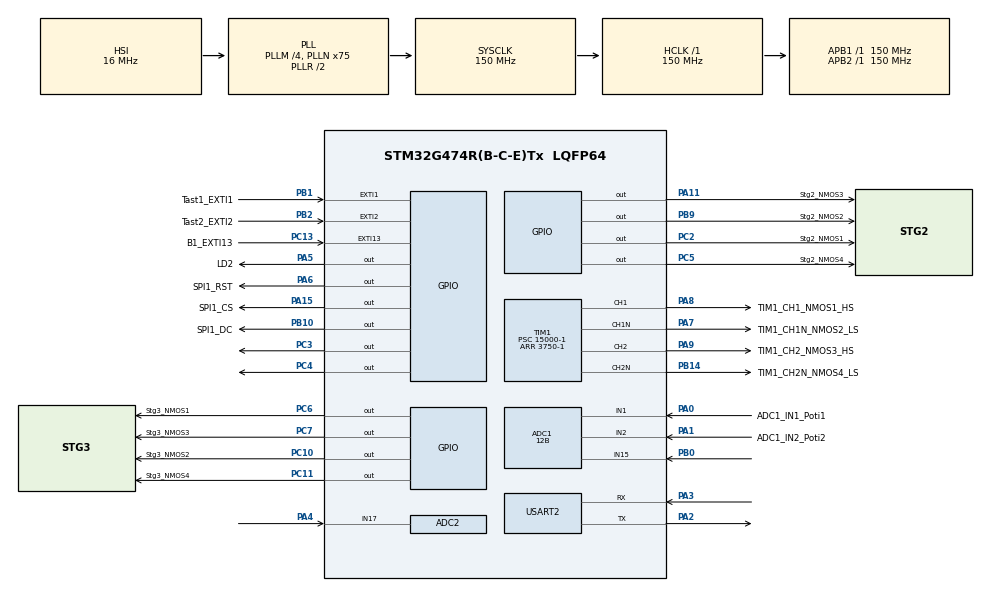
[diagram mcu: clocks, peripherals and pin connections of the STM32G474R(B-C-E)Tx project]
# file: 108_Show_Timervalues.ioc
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ADC1.Channel-2\#ChannelRegularConversion=ADC_CHANNEL_1
ADC1.Channel-3\#ChannelRegularConversion=ADC_CHANNEL_2
ADC1.Channel-4\#ChannelRegularConversion=ADC_CHANNEL_15
ADC1.ContinuousConvMode=ENABLE
ADC1.DMAContinuousRequests=ENABLE
ADC1.EOCSelection=ADC_EOC_SEQ_CONV
ADC1.NbrOfConversion=3
ADC1.NbrOfConversionFlag=1
ADC1.OffsetNumber-2\#ChannelRegularConversion=ADC_OFFSET_NONE
ADC1.OffsetNumber-3\#ChannelRegularConversion=ADC_OFFSET_NONE
ADC1.OffsetNumber-4\#ChannelRegularConversion=ADC_OFFSET_NONE
ADC1.Overrun=ADC_OVR_DATA_PRESERVED
ADC1.Rank-2\#ChannelRegularConversion=1
ADC1.Rank-3\#ChannelRegularConversion=2
ADC1.Rank-4\#ChannelRegularConversion=3
ADC1.Resolution=ADC_RESOLUTION_12B
ADC1.SamplingTime-2\#ChannelRegularConversion=ADC_SAMPLETIME_640CYCLES_5
ADC1.SamplingTime-3\#ChannelRegularConversion=ADC_SAMPLETIME_640CYCLES_5
ADC1.SamplingTime-4\#ChannelRegularConversion=ADC_SAMPLETIME_640CYCLES_5
ADC1.master=1
ADC2.Channel-0\#ChannelRegularConversion=ADC_CHANNEL_17
ADC2.ContinuousConvMode=ENABLE
ADC2.DMAContinuousRequests=ENABLE
ADC2.EOCSelection=ADC_EOC_SEQ_CONV
ADC2.NbrOfConversion=1
ADC2.NbrOfConversionFlag=1
ADC2.OffsetNumber-0\#ChannelRegularConversion=ADC_OFFSET_NONE
ADC2.Overrun=ADC_OVR_DATA_PRESERVED
ADC2.Rank-0\#ChannelRegularConversion=1
ADC2.Resolution=ADC_RESOLUTION_12B
ADC2.SamplingTime-0\#ChannelRegularConversion=ADC_SAMPLETIME_640CYCLES_5
Dma.ADC1.0.Direction=DMA_PERIPH_TO_MEMORY
Dma.ADC1.0.EventEnable=DISABLE
Dma.ADC1.0.Instance=DMA1_Channel3
Dma.ADC1.0.MemDataAlignment=DMA_MDATAALIGN_WORD
Dma.ADC1.0.MemInc=DMA_MINC_ENABLE
Dma.ADC1.0.Mode=DMA_CIRCULAR
Dma.ADC1.0.PeriphDataAlignment=DMA_PDATAALIGN_WORD
Dma.ADC1.0.PeriphInc=DMA_PINC_DISABLE
Dma.ADC1.0.Polarity=HAL_DMAMUX_REQ_GEN_RISING
Dma.ADC1.0.Priority=DMA_PRIORITY_LOW
Dma.ADC1.0.RequestNumber=1
Dma.ADC1.0.SignalID=NONE
Dma.ADC1.0.SyncEnable=DISABLE
Dma.ADC1.0.SyncPolarity=HAL_DMAMUX_SYNC_NO_EVENT
Dma.ADC1.0.SyncRequestNumber=1
Dma.ADC1.0.SyncSignalID=NONE
Dma.ADC2.1.Direction=DMA_PERIPH_TO_MEMORY
Dma.ADC2.1.EventEnable=DISABLE
Dma.ADC2.1.Instance=DMA2_Channel1
Dma.ADC2.1.MemDataAlignment=DMA_MDATAALIGN_WORD
Dma.ADC2.1.MemInc=DMA_MINC_ENABLE
Dma.ADC2.1.Mode=DMA_CIRCULAR
Dma.ADC2.1.PeriphDataAlignment=DMA_PDATAALIGN_WORD
Dma.ADC2.1.PeriphInc=DMA_PINC_DISABLE
Dma.ADC2.1.Polarity=HAL_DMAMUX_REQ_GEN_RISING
Dma.ADC2.1.Priority=DMA_PRIORITY_LOW
Dma.ADC2.1.RequestNumber=1
Dma.ADC2.1.SignalID=NONE
Dma.ADC2.1.SyncEnable=DISABLE
Dma.ADC2.1.SyncPolarity=HAL_DMAMUX_SYNC_NO_EVENT
Dma.ADC2.1.SyncRequestNumber=1
Dma.ADC2.1.SyncSignalID=NONE
Dma.Request0=ADC1
Dma.Request1=ADC2
Dma.Request2=TIM1_CH1
Dma.Request3=TIM1_CH2
Dma.TIM1_CH1.2.Direction=DMA_MEMORY_TO_PERIPH
Dma.TIM1_CH1.2.EventEnable=DISABLE
Dma.TIM1_CH1.2.Instance=DMA1_Channel1
Dma.TIM1_CH1.2.MemDataAlignment=DMA_MDATAALIGN_WORD
Dma.TIM1_CH1.2.MemInc=DMA_MINC_ENABLE
Dma.TIM1_CH1.2.Mode=DMA_CIRCULAR
Dma.TIM1_CH1.2.PeriphDataAlignment=DMA_PDATAALIGN_WORD
Dma.TIM1_CH1.2.PeriphInc=DMA_PINC_DISABLE
Dma.TIM1_CH1.2.Polarity=HAL_DMAMUX_REQ_GEN_RISING
Dma.TIM1_CH1.2.Priority=DMA_PRIORITY_LOW
Dma.TIM1_CH1.2.RequestNumber=1
Dma.TIM1_CH1.2.SignalID=NONE
Dma.TIM1_CH1.2.SyncEnable=DISABLE
Dma.TIM1_CH1.2.SyncPolarity=HAL_DMAMUX_SYNC_NO_EVENT
Dma.TIM1_CH1.2.SyncRequestNumber=1
Dma.TIM1_CH1.2.SyncSignalID=NONE
Dma.TIM1_CH2.3.Direction=DMA_MEMORY_TO_PERIPH
Dma.TIM1_CH2.3.EventEnable=DISABLE
Dma.TIM1_CH2.3.Instance=DMA1_Channel2
Dma.TIM1_CH2.3.MemDataAlignment=DMA_MDATAALIGN_WORD
Dma.TIM1_CH2.3.MemInc=DMA_MINC_ENABLE
Dma.TIM1_CH2.3.Mode=DMA_CIRCULAR
Dma.TIM1_CH2.3.PeriphDataAlignment=DMA_PDATAALIGN_WORD
Dma.TIM1_CH2.3.PeriphInc=DMA_PINC_DISABLE
Dma.TIM1_CH2.3.Polarity=HAL_DMAMUX_REQ_GEN_RISING
Dma.TIM1_CH2.3.Priority=DMA_PRIORITY_LOW
Dma.TIM1_CH2.3.RequestNumber=1
Dma.TIM1_CH2.3.SignalID=NONE
Dma.TIM1_CH2.3.SyncEnable=DISABLE
Dma.TIM1_CH2.3.SyncPolarity=HAL_DMAMUX_SYNC_NO_EVENT
Dma.TIM1_CH2.3.SyncRequestNumber=1
Dma.TIM1_CH2.3.SyncSignalID=NONE
Mcu.Family=STM32G4
Mcu.Name=STM32G474R(B-C-E)Tx
Mcu.Package=LQFP64
NVIC.DMA1_Channel1_IRQn=true\:0\:0\:false\:false\:true\:false\:true\:true
NVIC.DMA1_Channel2_IRQn=true\:0\:0\:false\:false\:true\:false\:true\:true
NVIC.DMA1_Channel3_IRQn=true\:0\:0\:false\:false\:true\:false\:true\:true
NVIC.DMA2_Channel1_IRQn=true\:0\:0\:false\:false\:true\:false\:true\:true
NVIC.EXTI15_10_IRQn=true\:0\:0\:false\:false\:true\:true\:true\:true
NVIC.EXTI1_IRQn=true\:0\:0\:false\:false\:true\:true\:true\:true
NVIC.EXTI2_IRQn=true\:0\:0\:false\:false\:true\:true\:true\:true
NVIC.PriorityGroup=NVIC_PRIORITYGROUP_4
NVIC.TIM1_TRG_COM_TIM17_IRQn=true\:0\:0\:false\:false\:true\:true\:true\:true
NVIC.TIM1_UP_TIM16_IRQn=true\:0\:0\:false\:false\:true\:true\:true\:true
PA0.GPIO_Label=ADC1_IN1_Poti1
PA0.Mode=IN1-Single-Ended
PA0.Signal=ADC1_IN1
PA1.GPIO_Label=ADC1_IN2_Poti2
PA1.Mode=IN2-Single-Ended
PA1.Signal=ADC1_IN2
PA11.GPIO_Label=Stg2_NMOS3
PA11.Signal=GPIO_Output
PA13.Mode=Trace_Asynchronous_SW
PA13.Signal=SYS_JTMS-SWDIO
PA14.Mode=Trace_Asynchronous_SW
PA14.Signal=SYS_JTCK-SWCLK
PA15.GPIO_Label=SPI1_CS
PA15.Signal=GPIO_Output
PA2.Mode=Asynchronous
PA2.Signal=USART2_TX
PA3.Mode=Asynchronous
PA3.Signal=USART2_RX
PA4.Mode=IN17-Single-Ended
PA4.Signal=ADC2_IN17
PA5.GPIO_Label=LD2
PA5.Signal=GPIO_Output
PA6.GPIO_Label=SPI1_RST
PA6.Signal=GPIO_Output
PA7.GPIO_Label=TIM1_CH1N_NMOS2_LS
PA7.GPIO_ModeDefaultPP=GPIO_MODE_AF_PP
PA7.GPIO_PuPd=GPIO_PULLDOWN
PA7.GPIO_Speed=GPIO_SPEED_FREQ_LOW
PA7.Mode=PWM Generation1 CH1 CH1N
PA7.Signal=TIM1_CH1N
PA8.GPIO_Label=TIM1_CH1_NMOS1_HS
PA8.GPIO_ModeDefaultPP=GPIO_MODE_AF_PP
PA8.GPIO_PuPd=GPIO_PULLDOWN
PA8.GPIO_Speed=GPIO_SPEED_FREQ_LOW
PA8.Signal=S_TIM1_CH1
PA9.GPIO_Label=TIM1_CH2_NMOS3_HS
PA9.GPIO_ModeDefaultPP=GPIO_MODE_AF_PP
PA9.GPIO_PuPd=GPIO_PULLDOWN
PA9.Signal=S_TIM1_CH2
PB0.Mode=IN15-Single-Ended
PB0.Signal=ADC1_IN15
PB1.GPIO_Label=Tast1_EXTI1
PB1.GPIO_ModeDefaultEXTI=GPIO_MODE_IT_RISING
PB1.GPIO_PuPd=GPIO_PULLDOWN
PB1.Signal=GPXTI1
PB10.GPIO_Label=SPI1_DC
PB10.Signal=GPIO_Output
PB14.GPIO_Label=TIM1_CH2N_NMOS4_LS
PB14.GPIO_ModeDefaultPP=GPIO_MODE_AF_PP
PB14.GPIO_PuPd=GPIO_PULLDOWN
PB14.Mode=PWM Generation2 CH2 CH2N
PB14.Signal=TIM1_CH2N
PB2.GPIO_Label=Tast2_EXTI2
PB2.GPIO_PuPd=GPIO_PULLDOWN
PB2.Signal=GPXTI2
PB3.Mode=Trace_Asynchronous_SW
PB3.Signal=SYS_JTDO-SWO
PB9.GPIO_Label=Stg2_NMOS2
PB9.Signal=GPIO_Output
PC10.GPIO_Label=Stg3_NMOS2
PC10.Signal=GPIO_Output
PC11.GPIO_Label=Stg3_NMOS4
PC11.Signal=GPIO_Output
PC13.GPIO_Label=B1_EXTI13
PC13.GPIO_ModeDefaultEXTI=GPIO_MODE_IT_RISING
PC13.GPIO_PuPd=GPIO_NOPULL
PC13.Signal=GPXTI13
PC2.GPIO_Label=Stg2_NMOS1
PC2.Signal=GPIO_Output
PC3.Signal=GPIO_Output
PC4.Signal=GPIO_Output
PC5.GPIO_Label=Stg2_NMOS4
PC5.Signal=GPIO_Output
PC6.GPIO_Label=Stg3_NMOS1
PC6.Signal=GPIO_Output
PC7.GPIO_Label=Stg3_NMOS3
PC7.Signal=GPIO_Output
PF0-OSC_IN.Mode=HSE-External-Oscillator
PF0-OSC_IN.Signal=RCC_OSC_IN
PF1-OSC_OUT.Mode=HSE-External-Oscillator
PF1-OSC_OUT.Signal=RCC_OSC_OUT
ProjectManager.HeapSize=0x200
ProjectManager.StackSize=0x400
ProjectManager.TargetToolchain=STM32CubeIDE
RCC.ADC12Freq_Value=150000000
RCC.ADC345Freq_Value=150000000
RCC.AHBFreq_Value=150000000
RCC.APB1Freq_Value=150000000
RCC.APB1TimFreq_Value=150000000
RCC.APB2Freq_Value=150000000
RCC.APB2TimFreq_Value=150000000
RCC.CortexFreq_Value=150000000
RCC.EXTERNAL_CLOCK_VALUE=12288000
RCC.HCLKFreq_Value=150000000
RCC.HSE_VALUE=48000000
RCC.HSI48_VALUE=48000000
RCC.HSI_VALUE=16000000
RCC.LSE_VALUE=32768
RCC.PLLM=RCC_PLLM_DIV4
RCC.PLLN=75
RCC.SYSCLKFreq_VALUE=150000000
RCC.SYSCLKSource=RCC_SYSCLKSOURCE_PLLCLK
RCC.USBFreq_Value=150000000
RCC.VCOOutputFreq_Value=300000000
SH.S_TIM1_CH1.0=TIM1_CH1,PWM Generation1 CH1 CH1N
SH.S_TIM1_CH2.0=TIM1_CH2,PWM Generation2 CH2 CH2N
TIM1.AsymmetricalDeadTime=DISABLE
TIM1.AutoReloadPreload=TIM_AUTORELOAD_PRELOAD_ENABLE
TIM1.AutomaticOutput=TIM_AUTOMATICOUTPUT_ENABLE
TIM1.Channel-PWM\ Generation1\ CH1\ CH1N=TIM_CHANNEL_1
TIM1.Channel-PWM\ Generation2\ CH2\ CH2N=TIM_CHANNEL_2
TIM1.CounterMode=TIM_COUNTERMODE_CENTERALIGNED2
TIM1.DeadTime=192
TIM1.OCFastMode_PWM-PWM\ Generation1\ CH1\ CH1N=TIM_OCFAST_ENABLE
TIM1.OCFastMode_PWM-PWM\ Generation2\ CH2\ CH2N=TIM_OCFAST_ENABLE
TIM1.OCIdleState_1=TIM_OCIDLESTATE_RESET
TIM1.OCIdleState_2=TIM_OCIDLESTATE_RESET
TIM1.OCMode_PWM-PWM\ Generation2\ CH2\ CH2N=TIM_OCMODE_PWM2
TIM1.OCNIdleState_1=TIM_OCNIDLESTATE_RESET
TIM1.OCNIdleState_2=TIM_OCNIDLESTATE_RESET
TIM1.OCNPolarity_1=TIM_OCNPOLARITY_HIGH
TIM1.OCNPolarity_2=TIM_OCNPOLARITY_HIGH
TIM1.OCPolarity_1=TIM_OCPOLARITY_HIGH
TIM1.OCPolarity_2=TIM_OCPOLARITY_HIGH
TIM1.OffStateIDLEMode=TIM_OSSI_DISABLE
TIM1.OffStateRunMode=TIM_OSSR_DISABLE
TIM1.PeriodNoDither=3750-1
TIM1.Prescaler=15000-1
TIM1.PulseNoDither_1=0
TIM1.RepetitionCounter=0
TIM16.PeriodNoDither=1000
TIM16.Prescaler=15000 - 1
TIM17.PeriodNoDither=5000
TIM17.Prescaler=15000-1
USART2.VirtualMode-Asynchronous=VM_ASYNC
VP_SYS_VS_DBSignals.Mode=DisableDeadBatterySignals
VP_TIM16_VS_ClockSourceINT.Mode=Enable_Timer
VP_TIM17_VS_ClockSourceINT.Mode=Enable_Timer
VP_TIM1_VS_ClockSourceINT.Mode=Internal
board=custom

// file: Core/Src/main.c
/* USER CODE BEGIN Header */
/**
 ******************************************************************************
 * @file           : main.c
 * @brief          : Main program body
 ******************************************************************************
 Mit diesem Code wird ein Sinussignal mit 4 PWM Signalen moduliert. Der Code ist
 für eine H-Brücke geeignet.

 State IDLE:
 Im State IDLE sind die ADC-Messungen und PWM Signale gestoppt.

 State SINUS_MOD:
 Im State ADC_Values werden die ADC Werte auf dem Display und in der Putty Konsole angezeigt.
 Wenn ein Taster gedrückt wird, erfolgt eine Meldung auf dem Display und in der Konsole.
 Die ADC Werte werden mit dem DMA direkt vom ADC in die Arrays AD_RES_BUFFER_ADC1
 und AD_RES_BUFFER_ADC2 übertragen. Dies benötigt keine CPU Zeit und es können mehrere Kanäle
 eines ADCs ausgelesen werden ohne das die HAL neu konfiguriert werden muss.
 Mit der Timer Callback Funktion HAL_TIM_PeriodElapsedCallback wird das Display und
 die Konsole alle 0.5s aktualisiert.
 Die PWM Signale können dynamisch mit der funktion in Bezug auf die Frequenz f0
 und Amplitude A0 erzeugt werden. Die LookUp Tabelle welche für das CCR Register der
 Timerbausteine erstellt wird, wird in der Konsole beim Übergang vom State IDLE
 zum State SINUS_MOD angezeigt. Die dynamische allozierung ist in der Funktion
 set_pwm_values() umgesetzt und die Freigabe des Speichers erfolt im leave der
 State Machine.

 Der Blaue User Button B1 wird für die Umschaltung zwischen den States verwendet.
 Die externen Buttons haben zurzeit noch keine Funktion.

 ******************************************************************************
 */
/* USER CODE END Header */
#include "main.h"

/* USER CODE BEGIN Includes */
#include "task_handler.h"
#include <stdbool.h>
#include <math.h>
#include "stdio.h"
/* USER CODE END Includes */

/* USER CODE BEGIN PM */
// SWV
#define ITM_PORT32(n) (*((volatile unsigned long *)(0xE0000000+4*n)))

/* USER CODE END PM */

ADC_HandleTypeDef hadc1;
ADC_HandleTypeDef hadc2;
DMA_HandleTypeDef hdma_adc1;
DMA_HandleTypeDef hdma_adc2;

TIM_HandleTypeDef htim1;
TIM_HandleTypeDef htim16;
TIM_HandleTypeDef htim17;
DMA_HandleTypeDef hdma_tim1_ch1;
DMA_HandleTypeDef hdma_tim1_ch2;

UART_HandleTypeDef huart2;

/* USER CODE BEGIN PV */
uint8_t px_ofs2 = 15;			// Offset in pixel
// Arrays für ADC Messungen, DMA schreibt direkt in diese Arrays
uint32_t AD_RES_BUFFER_ADC1[3];
uint32_t AD_RES_BUFFER_ADC2[1];
// Char Array für Konsole
char msg_console[80];
// Char Array für Display
char msg_display[20];
// PWM Modulation
const uint32_t fPWM = 20000;	// Schaltfrequenz in [Hz]
const uint32_t f0 = 50;			// Zu modulierende Frequenz [Hz]
const float A0 = 1;				// Zu modulierende Amplitude [0...1]
// SWV
uint32_t tim_cnt_val = 0;
uint32_t tim_ccr = 0;
/* USER CODE END PV */

void SystemClock_Config(void);
static void MX_GPIO_Init(void);
static void MX_DMA_Init(void);
static void MX_TIM16_Init(void);
static void MX_ADC1_Init(void);
static void MX_USART2_UART_Init(void);
static void MX_TIM17_Init(void);
static void MX_ADC2_Init(void);
static void MX_TIM1_Init(void);

/* USER CODE BEGIN 0 */
/* Interrupts *****************************************************************/
// GPIO Callback
void HAL_GPIO_EXTI_Callback(uint16_t GPIO_Pin) {
	/* Prevent unused argument(s) compilation warning */
	UNUSED(GPIO_Pin);
	// Interrupt Routine
	switch (GPIO_Pin) {
	case B1_EXTI13_Pin: // B1 pressed
		switch (handler_state) {
		case IDLE:
			set_handler_state(SINUS_MOD);
			break;
		case SINUS_MOD:
			set_handler_state(IDLE);
			break;
		default:
			set_handler_state(IDLE);
			break;
		}
		break;
	case Tast1_EXTI1_Pin: // Taster1 pressed
		// Display
		// Clear Last Button Message
		sprintf(msg_display, "Taster1 gedrueckt!");
		// Console
		sprintf(msg_console, "Taster1 gedrückt! \r\n");
		HAL_UART_Transmit(&huart2, (uint8_t*) msg_console, strlen(msg_console),
		HAL_MAX_DELAY);
		break;
	case Tast2_EXTI2_Pin: // Taster2 pressed
		// Display
		// Clear Last Button Message
		sprintf(msg_display, "Taster2 gedrueckt!");
		// Console
		sprintf(msg_console, "Taster2 gedrückt! \r\n");
		HAL_UART_Transmit(&huart2, (uint8_t*) msg_console, strlen(msg_console),
		HAL_MAX_DELAY);
		break;
	default:
		break;
	}
}

// Timer timeout Callback
void HAL_TIM_PeriodElapsedCallback(TIM_HandleTypeDef *htim) {
	// Überprüfe welcher Timer diese callback Funktion aufruft
	// time_val um 100ms inkrementieren
	if (htim == &htim16) {
		HAL_GPIO_TogglePin(GPIOC, GPIO_PIN_3);
		if (handler_state == SINUS_MOD) {
			inc_handler_currentTime(100);
		}
	}
	// Display und Konsole alle 0.5s aktualisieren
	else if (htim == &htim17) {
		switch (handler_state) {
		case IDLE:
			break;
		case SINUS_MOD:
			// Display
			adc_values *ptr = get_adc_values();
			sprintf(msg_display, "Poti1: %2.2fV", ptr->poti1_Vf);
			sprintf(msg_display, "Poti2: %2.2fV", ptr->poti2_Vf);
			sprintf(msg_display, "BNC1:  %2.2fV", ptr->bnc1_Vf);
			sprintf(msg_display, "BNC2:  %2.2fV", ptr->bnc2_Vf);
			sprintf(msg_display, "f0 =  %4luHz", f0);
			sprintf(msg_display, "A0 =  %2.2f%%", 100.0 * A0);
			// Console
			sprintf(msg_console,
					"Poti1: %2.2fV | Poti2: %2.2fV | bnc1: %2.2fV | bnc2: %2.2fV \r\n", //| f0 = %4luHz | A0 = %2.2f%% \r\n",
					ptr->poti1_Vf, ptr->poti2_Vf, ptr->bnc1_Vf, ptr->bnc2_Vf); //, f0, 100.0*A0);
			HAL_UART_Transmit(&huart2, (uint8_t*) msg_console,
					strlen(msg_console), HAL_MAX_DELAY);
			break;
		default:
			set_handler_state(IDLE);
			break;
		}
	}
}

/* ADC *******************************************************************/
// DMA Callback
// Diese Callback Funktion kann aktiviert werden, wenn der DMA Transfer überprüft werden soll.
//void HAL_ADC_ConvCpltCallback(ADC_HandleTypeDef* hadc)
//{
//    // Conversion Complete & DMA Transfer Complete As Well
//    // So The AD_RES_BUFFER Is Now Updated & Let's Move Values To The PWM CCRx
//    // Update The PWM Channels With Latest ADC Scan Conversion Results
//	if(hadc == &hadc1)
//	{
//	    uint16_t poti1_raw = (AD_RES_BUFFER_ADC1[0] << 4); // Map 12 Bit to 16 Bit values
//	    poti1_V = (3.3*(float)poti1_raw)/65535;
//	    uint16_t poti2_raw = (AD_RES_BUFFER_ADC1[1] << 4);
//	    poti2_V = (3.3*(float)poti2_raw)/65535;
//	    uint16_t bnc1_raw = (AD_RES_BUFFER_ADC1[2] << 4);
//	    bnc1_V = (3.3*(float)bnc1_raw)/65535;
//	}
//	else if(hadc == &hadc2)
//	{
//	    uint16_t bnc2_raw = (AD_RES_BUFFER_ADC2[0] << 4);
//	    bnc2_V = (3.3*(float)bnc2_raw)/65535;
//	}
//}
/* SWV *******************************************************************/
int _write(int file, char *ptr, int len)
{
	int DataIdx;
	for(DataIdx=0; DataIdx<len; DataIdx++)
	{
		ITM_SendChar(*ptr++);
	}
	return len;
}

/* USER CODE END 0 */

int main(void)
{

  /* MCU Configuration--------------------------------------------------------*/

  /* Reset of all peripherals, Initializes the Flash interface and the Systick. */
  HAL_Init();

  /* Configure the system clock */
  SystemClock_Config();

  /* USER CODE BEGIN SysInit */
  // SWV
  ITM_PORT32(31) = 1; // Change Port
  /* USER CODE END SysInit */

  /* Initialize all configured peripherals */
  MX_GPIO_Init();
  MX_DMA_Init();
  MX_TIM16_Init();
  MX_ADC1_Init();
  MX_USART2_UART_Init();
  MX_TIM17_Init();
  MX_ADC2_Init();
  MX_TIM1_Init();
  /* USER CODE BEGIN 2 */

	// Set first State
	set_handler_state(IDLE);

	// SWV
	printf(" Starting SWV!\r\n");
	ITM_PORT32(31) = 2; // Change Port

  /* USER CODE END 2 */

  /* Infinite loop */
	while (1) {

    /* USER CODE BEGIN 3 */
		// Run StateMachine
		// handler_task();
		// SWV
		HAL_Delay(0.1);
		tim_cnt_val = TIM1->CNT;
		printf("Counter = %lu\r\n", tim_cnt_val);
	}
  /* USER CODE END 3 */
}

void SystemClock_Config(void)
{
  RCC_OscInitTypeDef RCC_OscInitStruct = {0};
  RCC_ClkInitTypeDef RCC_ClkInitStruct = {0};

  /** Configure the main internal regulator output voltage
  */
  HAL_PWREx_ControlVoltageScaling(PWR_REGULATOR_VOLTAGE_SCALE1);

  /** Initializes the RCC Oscillators according to the specified parameters
  * in the RCC_OscInitTypeDef structure.
  */
  RCC_OscInitStruct.OscillatorType = RCC_OSCILLATORTYPE_HSI;
  RCC_OscInitStruct.HSIState = RCC_HSI_ON;
  RCC_OscInitStruct.HSICalibrationValue = RCC_HSICALIBRATION_DEFAULT;
  RCC_OscInitStruct.PLL.PLLState = RCC_PLL_ON;
  RCC_OscInitStruct.PLL.PLLSource = RCC_PLLSOURCE_HSI;
  RCC_OscInitStruct.PLL.PLLM = RCC_PLLM_DIV4;
  RCC_OscInitStruct.PLL.PLLN = 75;
  RCC_OscInitStruct.PLL.PLLP = RCC_PLLP_DIV2;
  RCC_OscInitStruct.PLL.PLLQ = RCC_PLLQ_DIV2;
  RCC_OscInitStruct.PLL.PLLR = RCC_PLLR_DIV2;
  if (HAL_RCC_OscConfig(&RCC_OscInitStruct) != HAL_OK)
  {
    Error_Handler();
  }

  /** Initializes the CPU, AHB and APB buses clocks
  */
  RCC_ClkInitStruct.ClockType = RCC_CLOCKTYPE_HCLK|RCC_CLOCKTYPE_SYSCLK
                              |RCC_CLOCKTYPE_PCLK1|RCC_CLOCKTYPE_PCLK2;
  RCC_ClkInitStruct.SYSCLKSource = RCC_SYSCLKSOURCE_PLLCLK;
  RCC_ClkInitStruct.AHBCLKDivider = RCC_SYSCLK_DIV1;
  RCC_ClkInitStruct.APB1CLKDivider = RCC_HCLK_DIV1;
  RCC_ClkInitStruct.APB2CLKDivider = RCC_HCLK_DIV1;

  if (HAL_RCC_ClockConfig(&RCC_ClkInitStruct, FLASH_LATENCY_4) != HAL_OK)
  {
    Error_Handler();
  }
}

static void MX_ADC1_Init(void)
{

  ADC_MultiModeTypeDef multimode = {0};
  ADC_ChannelConfTypeDef sConfig = {0};

  /** Common config
  */
  hadc1.Instance = ADC1;
  hadc1.Init.ClockPrescaler = ADC_CLOCK_SYNC_PCLK_DIV4;
  hadc1.Init.Resolution = ADC_RESOLUTION_12B;
  hadc1.Init.DataAlign = ADC_DATAALIGN_RIGHT;
  hadc1.Init.GainCompensation = 0;
  hadc1.Init.ScanConvMode = ADC_SCAN_ENABLE;
  hadc1.Init.EOCSelection = ADC_EOC_SEQ_CONV;
  hadc1.Init.LowPowerAutoWait = DISABLE;
  hadc1.Init.ContinuousConvMode = ENABLE;
  hadc1.Init.NbrOfConversion = 3;
  hadc1.Init.DiscontinuousConvMode = DISABLE;
  hadc1.Init.ExternalTrigConv = ADC_SOFTWARE_START;
  hadc1.Init.ExternalTrigConvEdge = ADC_EXTERNALTRIGCONVEDGE_NONE;
  hadc1.Init.DMAContinuousRequests = ENABLE;
  hadc1.Init.Overrun = ADC_OVR_DATA_PRESERVED;
  hadc1.Init.OversamplingMode = DISABLE;
  if (HAL_ADC_Init(&hadc1) != HAL_OK)
  {
    Error_Handler();
  }

  /** Configure the ADC multi-mode
  */
  multimode.Mode = ADC_MODE_INDEPENDENT;
  if (HAL_ADCEx_MultiModeConfigChannel(&hadc1, &multimode) != HAL_OK)
  {
    Error_Handler();
  }

  /** Configure Regular Channel
  */
  sConfig.Channel = ADC_CHANNEL_1;
  sConfig.Rank = ADC_REGULAR_RANK_1;
  sConfig.SamplingTime = ADC_SAMPLETIME_640CYCLES_5;
  sConfig.SingleDiff = ADC_SINGLE_ENDED;
  sConfig.OffsetNumber = ADC_OFFSET_NONE;
  sConfig.Offset = 0;
  if (HAL_ADC_ConfigChannel(&hadc1, &sConfig) != HAL_OK)
  {
    Error_Handler();
  }

  /** Configure Regular Channel
  */
  sConfig.Channel = ADC_CHANNEL_2;
  sConfig.Rank = ADC_REGULAR_RANK_2;
  if (HAL_ADC_ConfigChannel(&hadc1, &sConfig) != HAL_OK)
  {
    Error_Handler();
  }

  /** Configure Regular Channel
  */
  sConfig.Channel = ADC_CHANNEL_15;
  sConfig.Rank = ADC_REGULAR_RANK_3;
  if (HAL_ADC_ConfigChannel(&hadc1, &sConfig) != HAL_OK)
  {
    Error_Handler();
  }

}

static void MX_ADC2_Init(void)
{

  ADC_ChannelConfTypeDef sConfig = {0};

  /** Common config
  */
  hadc2.Instance = ADC2;
  hadc2.Init.ClockPrescaler = ADC_CLOCK_SYNC_PCLK_DIV4;
  hadc2.Init.Resolution = ADC_RESOLUTION_12B;
  hadc2.Init.DataAlign = ADC_DATAALIGN_RIGHT;
  hadc2.Init.GainCompensation = 0;
  hadc2.Init.ScanConvMode = ADC_SCAN_DISABLE;
  hadc2.Init.EOCSelection = ADC_EOC_SEQ_CONV;
  hadc2.Init.LowPowerAutoWait = DISABLE;
  hadc2.Init.ContinuousConvMode = ENABLE;
  hadc2.Init.NbrOfConversion = 1;
  hadc2.Init.DiscontinuousConvMode = DISABLE;
  hadc2.Init.ExternalTrigConv = ADC_SOFTWARE_START;
  hadc2.Init.ExternalTrigConvEdge = ADC_EXTERNALTRIGCONVEDGE_NONE;
  hadc2.Init.DMAContinuousRequests = ENABLE;
  hadc2.Init.Overrun = ADC_OVR_DATA_PRESERVED;
  hadc2.Init.OversamplingMode = DISABLE;
  if (HAL_ADC_Init(&hadc2) != HAL_OK)
  {
    Error_Handler();
  }

  /** Configure Regular Channel
  */
  sConfig.Channel = ADC_CHANNEL_17;
  sConfig.Rank = ADC_REGULAR_RANK_1;
  sConfig.SamplingTime = ADC_SAMPLETIME_640CYCLES_5;
  sConfig.SingleDiff = ADC_SINGLE_ENDED;
  sConfig.OffsetNumber = ADC_OFFSET_NONE;
  sConfig.Offset = 0;
  if (HAL_ADC_ConfigChannel(&hadc2, &sConfig) != HAL_OK)
  {
    Error_Handler();
  }

}

static void MX_TIM1_Init(void)
{

  TIM_ClockConfigTypeDef sClockSourceConfig = {0};
  TIM_MasterConfigTypeDef sMasterConfig = {0};
  TIM_OC_InitTypeDef sConfigOC = {0};
  TIM_BreakDeadTimeConfigTypeDef sBreakDeadTimeConfig = {0};

  htim1.Instance = TIM1;
  htim1.Init.Prescaler = 15000-1;
  htim1.Init.CounterMode = TIM_COUNTERMODE_CENTERALIGNED2;
  htim1.Init.Period = 3749;
  htim1.Init.ClockDivision = TIM_CLOCKDIVISION_DIV1;
  htim1.Init.RepetitionCounter = 0;
  htim1.Init.AutoReloadPreload = TIM_AUTORELOAD_PRELOAD_ENABLE;
  if (HAL_TIM_Base_Init(&htim1) != HAL_OK)
  {
    Error_Handler();
  }
  sClockSourceConfig.ClockSource = TIM_CLOCKSOURCE_INTERNAL;
  if (HAL_TIM_ConfigClockSource(&htim1, &sClockSourceConfig) != HAL_OK)
  {
    Error_Handler();
  }
  if (HAL_TIM_PWM_Init(&htim1) != HAL_OK)
  {
    Error_Handler();
  }
  sMasterConfig.MasterOutputTrigger = TIM_TRGO_RESET;
  sMasterConfig.MasterOutputTrigger2 = TIM_TRGO2_RESET;
  sMasterConfig.MasterSlaveMode = TIM_MASTERSLAVEMODE_DISABLE;
  if (HAL_TIMEx_MasterConfigSynchronization(&htim1, &sMasterConfig) != HAL_OK)
  {
    Error_Handler();
  }
  sConfigOC.OCMode = TIM_OCMODE_PWM1;
  sConfigOC.Pulse = 0;
  sConfigOC.OCPolarity = TIM_OCPOLARITY_HIGH;
  sConfigOC.OCNPolarity = TIM_OCNPOLARITY_HIGH;
  sConfigOC.OCFastMode = TIM_OCFAST_ENABLE;
  sConfigOC.OCIdleState = TIM_OCIDLESTATE_RESET;
  sConfigOC.OCNIdleState = TIM_OCNIDLESTATE_RESET;
  if (HAL_TIM_PWM_ConfigChannel(&htim1, &sConfigOC, TIM_CHANNEL_1) != HAL_OK)
  {
    Error_Handler();
  }
  sConfigOC.OCMode = TIM_OCMODE_PWM2;
  if (HAL_TIM_PWM_ConfigChannel(&htim1, &sConfigOC, TIM_CHANNEL_2) != HAL_OK)
  {
    Error_Handler();
  }
  sBreakDeadTimeConfig.OffStateRunMode = TIM_OSSR_DISABLE;
  sBreakDeadTimeConfig.OffStateIDLEMode = TIM_OSSI_DISABLE;
  sBreakDeadTimeConfig.LockLevel = TIM_LOCKLEVEL_OFF;
  sBreakDeadTimeConfig.DeadTime = 192;
  sBreakDeadTimeConfig.BreakState = TIM_BREAK_DISABLE;
  sBreakDeadTimeConfig.BreakPolarity = TIM_BREAKPOLARITY_HIGH;
  sBreakDeadTimeConfig.BreakFilter = 0;
  sBreakDeadTimeConfig.BreakAFMode = TIM_BREAK_AFMODE_INPUT;
  sBreakDeadTimeConfig.Break2State = TIM_BREAK2_DISABLE;
  sBreakDeadTimeConfig.Break2Polarity = TIM_BREAK2POLARITY_HIGH;
  sBreakDeadTimeConfig.Break2Filter = 0;
  sBreakDeadTimeConfig.Break2AFMode = TIM_BREAK_AFMODE_INPUT;
  sBreakDeadTimeConfig.AutomaticOutput = TIM_AUTOMATICOUTPUT_ENABLE;
  if (HAL_TIMEx_ConfigBreakDeadTime(&htim1, &sBreakDeadTimeConfig) != HAL_OK)
  {
    Error_Handler();
  }
  /* USER CODE BEGIN TIM1_Init 2 */
  // STAGES_3
  //	CH1 = CH2 = PWM Mode 1
  // STAGES_2
  //	CH1 = PWM Mode 1, CH2 = PWM Mode 2!
	#ifdef STAGES_3
	  sConfigOC.OCMode = TIM_OCMODE_PWM1;
	  if (HAL_TIM_PWM_ConfigChannel(&htim1, &sConfigOC, TIM_CHANNEL_2) != HAL_OK)
	  {
		Error_Handler();
	  }
	#else
	  sConfigOC.OCMode = TIM_OCMODE_PWM2;
	  if (HAL_TIM_PWM_ConfigChannel(&htim1, &sConfigOC, TIM_CHANNEL_2) != HAL_OK)
	  {
	    Error_Handler();
	  }
	#endif
  /* USER CODE END TIM1_Init 2 */
  HAL_TIM_MspPostInit(&htim1);

}

static void MX_TIM16_Init(void)
{

  htim16.Instance = TIM16;
  htim16.Init.Prescaler = 15000 - 1;
  htim16.Init.CounterMode = TIM_COUNTERMODE_UP;
  htim16.Init.Period = 1000;
  htim16.Init.ClockDivision = TIM_CLOCKDIVISION_DIV1;
  htim16.Init.RepetitionCounter = 0;
  htim16.Init.AutoReloadPreload = TIM_AUTORELOAD_PRELOAD_DISABLE;
  if (HAL_TIM_Base_Init(&htim16) != HAL_OK)
  {
    Error_Handler();
  }

}

static void MX_TIM17_Init(void)
{

  htim17.Instance = TIM17;
  htim17.Init.Prescaler = 15000-1;
  htim17.Init.CounterMode = TIM_COUNTERMODE_UP;
  htim17.Init.Period = 5000;
  htim17.Init.ClockDivision = TIM_CLOCKDIVISION_DIV1;
  htim17.Init.RepetitionCounter = 0;
  htim17.Init.AutoReloadPreload = TIM_AUTORELOAD_PRELOAD_DISABLE;
  if (HAL_TIM_Base_Init(&htim17) != HAL_OK)
  {
    Error_Handler();
  }

}

static void MX_USART2_UART_Init(void)
{

  huart2.Instance = USART2;
  huart2.Init.BaudRate = 115200;
  huart2.Init.WordLength = UART_WORDLENGTH_8B;
  huart2.Init.StopBits = UART_STOPBITS_1;
  huart2.Init.Parity = UART_PARITY_NONE;
  huart2.Init.Mode = UART_MODE_TX_RX;
  huart2.Init.HwFlowCtl = UART_HWCONTROL_NONE;
  huart2.Init.OverSampling = UART_OVERSAMPLING_16;
  huart2.Init.OneBitSampling = UART_ONE_BIT_SAMPLE_DISABLE;
  huart2.Init.ClockPrescaler = UART_PRESCALER_DIV1;
  huart2.AdvancedInit.AdvFeatureInit = UART_ADVFEATURE_NO_INIT;
  if (HAL_UART_Init(&huart2) != HAL_OK)
  {
    Error_Handler();
  }
  if (HAL_UARTEx_SetTxFifoThreshold(&huart2, UART_TXFIFO_THRESHOLD_1_8) != HAL_OK)
  {
    Error_Handler();
  }
  if (HAL_UARTEx_SetRxFifoThreshold(&huart2, UART_RXFIFO_THRESHOLD_1_8) != HAL_OK)
  {
    Error_Handler();
  }
  if (HAL_UARTEx_DisableFifoMode(&huart2) != HAL_OK)
  {
    Error_Handler();
  }

}

static void MX_DMA_Init(void)
{

  /* DMA controller clock enable */
  __HAL_RCC_DMAMUX1_CLK_ENABLE();
  __HAL_RCC_DMA1_CLK_ENABLE();
  __HAL_RCC_DMA2_CLK_ENABLE();

  /* DMA interrupt init */
  /* DMA1_Channel1_IRQn interrupt configuration */
  HAL_NVIC_SetPriority(DMA1_Channel1_IRQn, 0, 0);
  HAL_NVIC_EnableIRQ(DMA1_Channel1_IRQn);
  /* DMA1_Channel2_IRQn interrupt configuration */
  HAL_NVIC_SetPriority(DMA1_Channel2_IRQn, 0, 0);
  HAL_NVIC_EnableIRQ(DMA1_Channel2_IRQn);
  /* DMA1_Channel3_IRQn interrupt configuration */
  HAL_NVIC_SetPriority(DMA1_Channel3_IRQn, 0, 0);
  HAL_NVIC_EnableIRQ(DMA1_Channel3_IRQn);
  /* DMA2_Channel1_IRQn interrupt configuration */
  HAL_NVIC_SetPriority(DMA2_Channel1_IRQn, 0, 0);
  HAL_NVIC_EnableIRQ(DMA2_Channel1_IRQn);

}

static void MX_GPIO_Init(void)
{
  GPIO_InitTypeDef GPIO_InitStruct = {0};

  /* GPIO Ports Clock Enable */
  __HAL_RCC_GPIOC_CLK_ENABLE();
  __HAL_RCC_GPIOF_CLK_ENABLE();
  __HAL_RCC_GPIOA_CLK_ENABLE();
  __HAL_RCC_GPIOB_CLK_ENABLE();

  /*Configure GPIO pin Output Level */
  HAL_GPIO_WritePin(GPIOC, Stg2_NMOS1_Pin|GPIO_PIN_3|GPIO_PIN_4|Stg2_NMOS4_Pin
                          |Stg3_NMOS1_Pin|Stg3_NMOS3_Pin|Stg3_NMOS2_Pin|Stg3_NMOS4_Pin, GPIO_PIN_RESET);

  /*Configure GPIO pin Output Level */
  HAL_GPIO_WritePin(GPIOA, LD2_Pin|SPI1_RST_Pin|Stg2_NMOS3_Pin|SPI1_CS_Pin, GPIO_PIN_RESET);

  /*Configure GPIO pin Output Level */
  HAL_GPIO_WritePin(GPIOB, SPI1_DC_Pin|Stg2_NMOS2_Pin, GPIO_PIN_RESET);

  /*Configure GPIO pin : B1_EXTI13_Pin */
  GPIO_InitStruct.Pin = B1_EXTI13_Pin;
  GPIO_InitStruct.Mode = GPIO_MODE_IT_RISING;
  GPIO_InitStruct.Pull = GPIO_NOPULL;
  HAL_GPIO_Init(B1_EXTI13_GPIO_Port, &GPIO_InitStruct);

  /*Configure GPIO pins : Stg2_NMOS1_Pin PC3 PC4 Stg2_NMOS4_Pin
                           Stg3_NMOS1_Pin Stg3_NMOS3_Pin Stg3_NMOS2_Pin Stg3_NMOS4_Pin */
  GPIO_InitStruct.Pin = Stg2_NMOS1_Pin|GPIO_PIN_3|GPIO_PIN_4|Stg2_NMOS4_Pin
                          |Stg3_NMOS1_Pin|Stg3_NMOS3_Pin|Stg3_NMOS2_Pin|Stg3_NMOS4_Pin;
  GPIO_InitStruct.Mode = GPIO_MODE_OUTPUT_PP;
  GPIO_InitStruct.Pull = GPIO_NOPULL;
  GPIO_InitStruct.Speed = GPIO_SPEED_FREQ_LOW;
  HAL_GPIO_Init(GPIOC, &GPIO_InitStruct);

  /*Configure GPIO pins : LD2_Pin SPI1_RST_Pin Stg2_NMOS3_Pin SPI1_CS_Pin */
  GPIO_InitStruct.Pin = LD2_Pin|SPI1_RST_Pin|Stg2_NMOS3_Pin|SPI1_CS_Pin;
  GPIO_InitStruct.Mode = GPIO_MODE_OUTPUT_PP;
  GPIO_InitStruct.Pull = GPIO_NOPULL;
  GPIO_InitStruct.Speed = GPIO_SPEED_FREQ_LOW;
  HAL_GPIO_Init(GPIOA, &GPIO_InitStruct);

  /*Configure GPIO pins : Tast1_EXTI1_Pin Tast2_EXTI2_Pin */
  GPIO_InitStruct.Pin = Tast1_EXTI1_Pin|Tast2_EXTI2_Pin;
  GPIO_InitStruct.Mode = GPIO_MODE_IT_RISING;
  GPIO_InitStruct.Pull = GPIO_PULLDOWN;
  HAL_GPIO_Init(GPIOB, &GPIO_InitStruct);

  /*Configure GPIO pins : SPI1_DC_Pin Stg2_NMOS2_Pin */
  GPIO_InitStruct.Pin = SPI1_DC_Pin|Stg2_NMOS2_Pin;
  GPIO_InitStruct.Mode = GPIO_MODE_OUTPUT_PP;
  GPIO_InitStruct.Pull = GPIO_NOPULL;
  GPIO_InitStruct.Speed = GPIO_SPEED_FREQ_LOW;
  HAL_GPIO_Init(GPIOB, &GPIO_InitStruct);

  /* EXTI interrupt init*/
  HAL_NVIC_SetPriority(EXTI1_IRQn, 0, 0);
  HAL_NVIC_EnableIRQ(EXTI1_IRQn);

  HAL_NVIC_SetPriority(EXTI2_IRQn, 0, 0);
  HAL_NVIC_EnableIRQ(EXTI2_IRQn);

  HAL_NVIC_SetPriority(EXTI15_10_IRQn, 0, 0);
  HAL_NVIC_EnableIRQ(EXTI15_10_IRQn);

}

void Error_Handler(void)
{
	__disable_irq();
	while (1) {
	}
}
